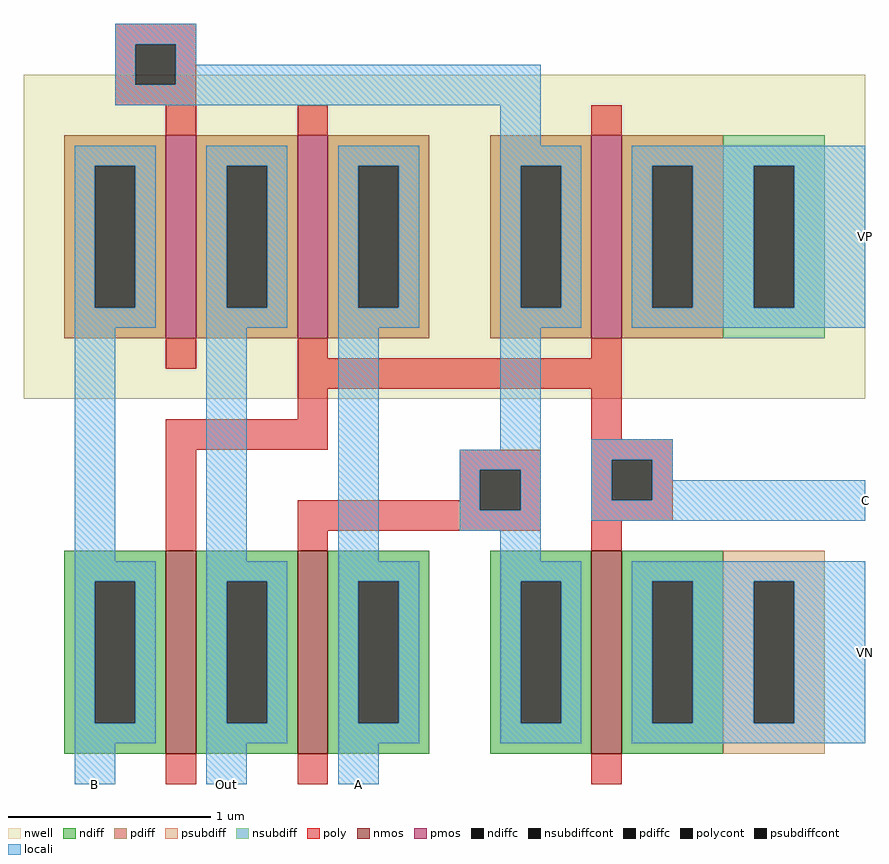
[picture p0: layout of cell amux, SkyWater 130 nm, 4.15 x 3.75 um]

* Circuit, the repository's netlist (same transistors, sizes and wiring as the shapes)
* SPICE3 file created from amux.ext - technology: sky130A


* Top level circuit amux

X0 VP C a_n50_680# VP sky130_fd_pr__pfet_01v8 ad=5e+11p pd=3e+06u as=5e+11p ps=3e+06u w=1e+06u l=150000u
X1 A C Out VP sky130_fd_pr__pfet_01v8 ad=5e+11p pd=3e+06u as=5e+11p ps=3e+06u w=1e+06u l=150000u
X2 Out C B VN sky130_fd_pr__nfet_01v8 ad=5e+11p pd=3e+06u as=5e+11p ps=3e+06u w=1e+06u l=150000u
X3 Out a_n50_680# B VP sky130_fd_pr__pfet_01v8 ad=0p pd=0u as=5e+11p ps=3e+06u w=1e+06u l=150000u
X4 A a_n50_680# Out VN sky130_fd_pr__nfet_01v8 ad=5e+11p pd=3e+06u as=0p ps=0u w=1e+06u l=150000u
X5 VN C a_n50_680# VN sky130_fd_pr__nfet_01v8 ad=5e+11p pd=3e+06u as=5e+11p ps=3e+06u w=1e+06u l=150000u
.end

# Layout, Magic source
magic
tech sky130A
<< nwell >>
rect -70 195 345 355
<< nmos >>
rect 0 20 15 120
rect 65 20 80 120
rect 210 20 225 120
<< pmos >>
rect 0 225 15 325
rect 65 225 80 325
rect 210 225 225 325
<< ndiff >>
rect -50 105 0 120
rect -50 35 -35 105
rect -15 35 0 105
rect -50 20 0 35
rect 15 105 65 120
rect 15 35 30 105
rect 50 35 65 105
rect 15 20 65 35
rect 80 105 130 120
rect 80 35 95 105
rect 115 35 130 105
rect 80 20 130 35
rect 160 105 210 120
rect 160 35 175 105
rect 195 35 210 105
rect 160 20 210 35
rect 225 105 275 120
rect 225 35 240 105
rect 260 35 275 105
rect 225 20 275 35
<< pdiff >>
rect -50 310 0 325
rect -50 240 -35 310
rect -15 240 0 310
rect -50 225 0 240
rect 15 310 65 325
rect 15 240 30 310
rect 50 240 65 310
rect 15 225 65 240
rect 80 310 130 325
rect 80 240 95 310
rect 115 240 130 310
rect 80 225 130 240
rect 160 310 210 325
rect 160 240 175 310
rect 195 240 210 310
rect 160 225 210 240
rect 225 310 275 325
rect 225 240 240 310
rect 260 240 275 310
rect 225 225 275 240
<< ndiffc >>
rect -35 35 -15 105
rect 30 35 50 105
rect 95 35 115 105
rect 175 35 195 105
rect 240 35 260 105
<< pdiffc >>
rect -35 240 -15 310
rect 30 240 50 310
rect 95 240 115 310
rect 175 240 195 310
rect 240 240 260 310
<< psubdiff >>
rect 275 105 325 120
rect 275 35 290 105
rect 310 35 325 105
rect 275 20 325 35
<< nsubdiff >>
rect 275 310 325 325
rect 275 240 290 310
rect 310 240 325 310
rect 275 225 325 240
<< psubdiffcont >>
rect 290 35 310 105
<< nsubdiffcont >>
rect 290 240 310 310
<< poly >>
rect -25 370 15 380
rect -25 350 -15 370
rect 5 350 15 370
rect -25 340 15 350
rect 0 325 15 340
rect 65 325 80 340
rect 210 325 225 340
rect 0 210 15 225
rect 65 215 80 225
rect 210 215 225 225
rect 65 200 225 215
rect 65 185 80 200
rect 0 170 80 185
rect 210 175 225 200
rect 0 120 15 170
rect 145 160 185 170
rect 145 145 155 160
rect 65 140 155 145
rect 175 140 185 160
rect 65 130 185 140
rect 210 165 250 175
rect 210 145 220 165
rect 240 145 250 165
rect 210 135 250 145
rect 65 120 80 130
rect 210 120 225 135
rect 0 5 15 20
rect 65 5 80 20
rect 210 5 225 20
<< polycont >>
rect -15 350 5 370
rect 155 140 175 160
rect 220 145 240 165
<< locali >>
rect -25 370 15 380
rect -25 350 -15 370
rect 5 360 15 370
rect 5 350 185 360
rect -25 340 185 350
rect 165 320 185 340
rect -45 310 -5 320
rect -45 240 -35 310
rect -15 240 -5 310
rect -45 230 -5 240
rect 20 310 60 320
rect 20 240 30 310
rect 50 240 60 310
rect 20 230 60 240
rect 85 310 125 320
rect 85 240 95 310
rect 115 240 125 310
rect 85 230 125 240
rect 165 310 205 320
rect 165 240 175 310
rect 195 240 205 310
rect 165 230 205 240
rect 230 310 345 320
rect 230 240 240 310
rect 260 240 290 310
rect 310 240 345 310
rect 230 230 345 240
rect -45 115 -25 230
rect 20 115 40 230
rect 85 115 105 230
rect 165 170 185 230
rect 145 160 185 170
rect 145 140 155 160
rect 175 140 185 160
rect 145 130 185 140
rect 210 165 250 175
rect 210 145 220 165
rect 240 155 250 165
rect 240 145 345 155
rect 210 135 345 145
rect 165 115 185 130
rect -45 105 -5 115
rect -45 35 -35 105
rect -15 35 -5 105
rect -45 25 -5 35
rect 20 105 60 115
rect 20 35 30 105
rect 50 35 60 105
rect 20 25 60 35
rect 85 105 125 115
rect 85 35 95 105
rect 115 35 125 105
rect 85 25 125 35
rect 165 105 205 115
rect 165 35 175 105
rect 195 35 205 105
rect 165 25 205 35
rect 230 105 345 115
rect 230 35 240 105
rect 260 35 290 105
rect 310 35 345 105
rect 230 25 345 35
rect -45 5 -25 25
rect 20 5 40 25
rect 85 5 105 25
<< labels >>
rlabel locali 345 275 345 275 3 VP
port 0 e
rlabel locali 345 70 345 70 3 VN
port 1 e
rlabel locali 95 5 95 5 5 A
port 2 s
rlabel locali -35 5 -35 5 5 B
port 3 s
rlabel locali 345 145 345 145 3 C
port 4 e
rlabel locali 30 5 30 5 5 Out
port 5 s
<< end >>
